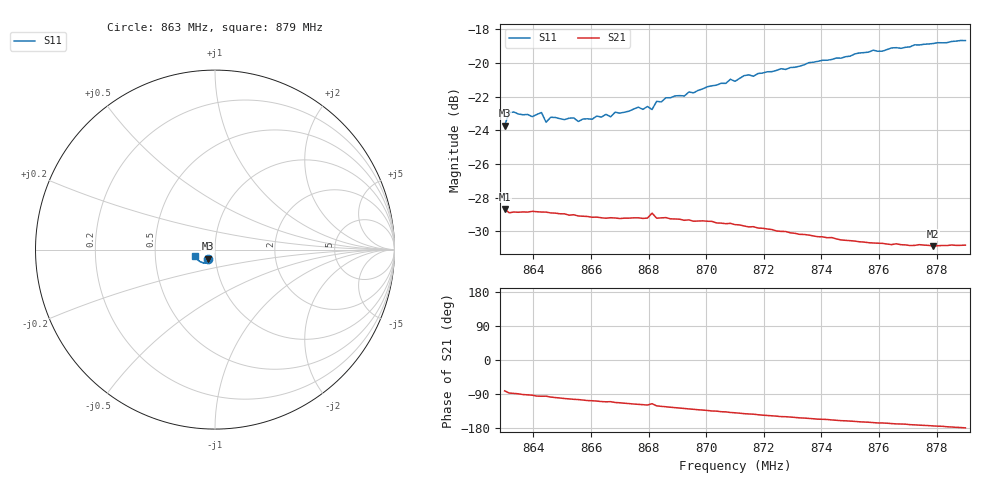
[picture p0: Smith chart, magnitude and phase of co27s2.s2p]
# HZ S RI R 50
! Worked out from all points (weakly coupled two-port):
!   101 points, 863 MHz to 879 MHz, reference 50 ohm
!   highest |S21| = -28.67 dB at 863 MHz (marker M1); lowest = -30.9 dB at 877.88 MHz (marker M2)
!   lowest |S11| = -23.7 dB at 863 MHz (marker M3), VSWR 1.14, Z = 45.8 - j4.62 ohm
!   |S11| at or under -10 dB: start of sweep to end of sweep
!   S12 and S22 are empty: the file has one direction only
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8.63e8  -0.0416 -0.0503  0.00548 -0.0364  0 0  0 0
8.6316e8  -0.0445 -0.0557  0.00175 -0.0359  0 0  0 0
8.6332e8  -0.0445 -0.056  0.0012 -0.0361  0 0  0 0
8.6396e8  -0.0414 -0.0556  -0.00185 -0.0362  0 0  0 0
8.6428e8  -0.0414 -0.0581  -0.00356 -0.0359  0 0  0 0
8.6444e8  -0.0375 -0.0552  -0.00347 -0.0359  0 0  0 0
8.646e8  -0.0399 -0.0564  -0.00485 -0.0356  0 0  0 0
8.6572e8  -0.0361 -0.0579  -0.00949 -0.0338  0 0  0 0
8.6668e8  -0.034 -0.0603  -0.0119 -0.0327  0 0  0 0
8.6684e8  -0.0358 -0.0619  -0.0131 -0.0321  0 0  0 0
8.6764e8  -0.0365 -0.0644  -0.0157 -0.0309  0 0  0 0
8.678e8  -0.0356 -0.0636  -0.0162 -0.0306  0 0  0 0
8.6812e8  -0.0352 -0.0638  -0.0154 -0.0324  0 0  0 0
8.6828e8  -0.0379 -0.067  -0.0179 -0.0297  0 0  0 0
8.6844e8  -0.0375 -0.0669  -0.0186 -0.0293  0 0  0 0
8.7084e8  -0.0511 -0.0735  -0.025 -0.0222  0 0  0 0
8.71e8  -0.0503 -0.0726  -0.0251 -0.0216  0 0  0 0
8.7132e8  -0.0526 -0.0753  -0.0257 -0.0204  0 0  0 0
8.7372e8  -0.0695 -0.0727  -0.0278 -0.0129  0 0  0 0
8.7644e8  -0.0936 -0.0596  -0.0283 -0.0061  0 0  0 0
8.7788e8  -0.1038 -0.0477  -0.0284 -0.00301  0 0  0 0
8.79e8  -0.1106 -0.0369  -0.0288 -0.00045  0 0  0 0
